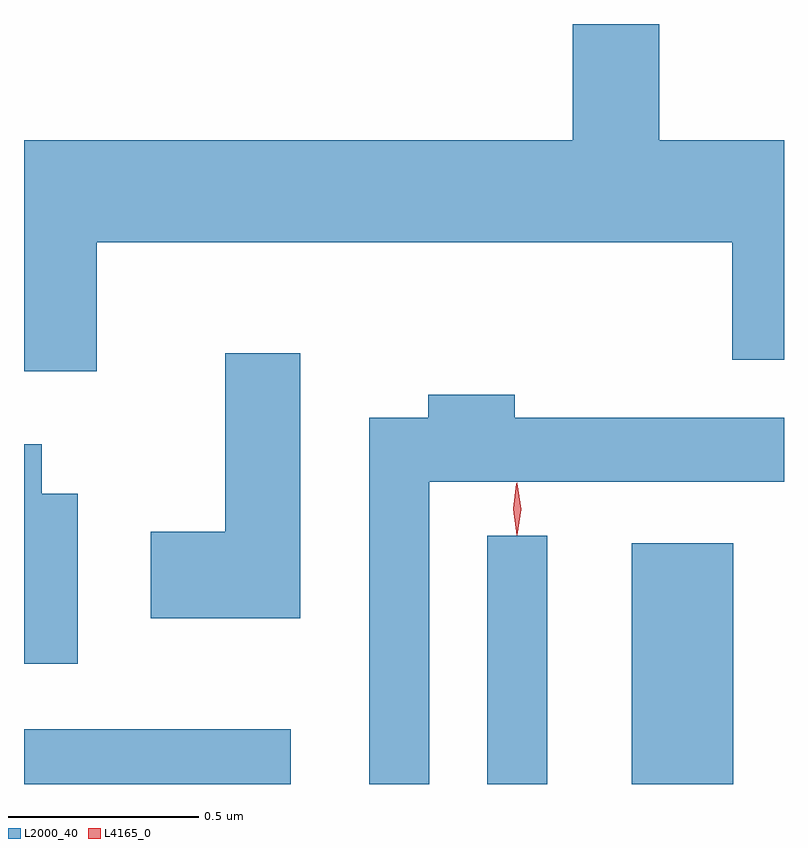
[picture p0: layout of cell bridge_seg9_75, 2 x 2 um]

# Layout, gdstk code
import gdstk
lib = gdstk.Library(unit=1e-6, precision=1e-09)
def R(c, l, rs):  # rectangles x0, y0, x1, y1
    for r in rs: c.add(gdstk.rectangle(r[:2], r[2:], *l))
def P(c, l, *ps):  # polygons
    for p in ps: c.add(gdstk.Polygon(p, *l))
L2000_40 = (2000, 40)
L4165_0 = (4165, 0)

bridge_seg9_75 = lib.new_cell('bridge_seg9_75')
R(bridge_seg9_75, L2000_40, [(1498.667,1959.31,1499.369,1959.454), (1499.886,1959.31,1500.044,1959.963), (1500.266,1959.31,1500.534,1959.944)])
P(bridge_seg9_75, L2000_40, [(1498.859,1960.736),(1500.531,1960.736),(1500.531,1960.426),(1500.667,1960.426),(1500.667,1961.004),(1500.339,1961.004),(1500.339,1961.31),(1500.111,1961.31),(1500.111,1961.004),(1498.667,1961.004),(1498.667,1960.396),(1498.859,1960.396)],
  [(1499.394,1960.444),(1499.196,1960.444),(1499.196,1959.974),(1499.001,1959.974),(1499.001,1959.746),(1499.394,1959.746)],
  [(1499.734,1960.106),(1500.667,1960.106),(1500.667,1960.274),(1499.959,1960.274),(1499.959,1960.334),(1499.731,1960.334),(1499.731,1960.274),(1499.576,1960.274),(1499.576,1959.31),(1499.734,1959.31)],
  [(1498.809,1960.074),(1498.714,1960.074),(1498.714,1960.204),(1498.667,1960.204),(1498.667,1959.626),(1498.809,1959.626)])
P(bridge_seg9_75, L4165_0, [(1499.964,1959.967),(1499.964,1959.967),(1499.954,1960.034),(1499.963,1960.1),(1499.964,1960.1),(1499.964,1960.1),(1499.974,1960.034),(1499.965,1959.967)],
  [(1499.964,1959.964),(1499.955,1960.033),(1499.964,1960.102),(1499.965,1960.103),(1499.965,1960.102),(1499.975,1960.033),(1499.965,1959.964),(1499.965,1959.964)])

lib.write_gds('bridge_seg9_75.gds')
